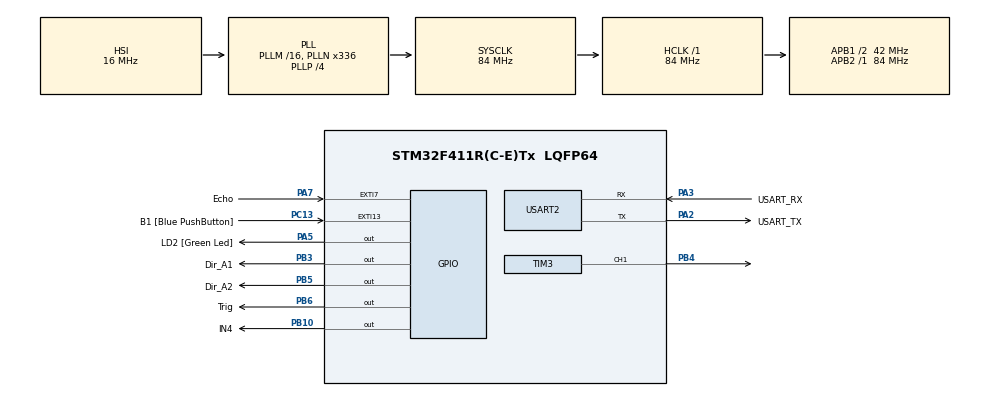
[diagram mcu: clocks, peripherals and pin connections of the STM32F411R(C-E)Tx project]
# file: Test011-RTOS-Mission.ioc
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FREERTOS.BinarySemaphores01=myBinarySem01,Dynamic,NULL
FREERTOS.Tasks01=myTask01,0,128,StartTask01,Default,NULL,Dynamic,NULL,NULL;myTask02,-1,128,StartTask02,Default,NULL,Dynamic,NULL,NULL;myTask03,-2,128,StartTask03,Default,NULL,Dynamic,NULL,NULL;myTask04,-3,128,StartTask04,Default,NULL,Dynamic,NULL,NULL
FREERTOS.configUSE_NEWLIB_REENTRANT=1
Mcu.Family=STM32F4
Mcu.Name=STM32F411R(C-E)Tx
Mcu.Package=LQFP64
NVIC.EXTI9_5_IRQn=true\:5\:0\:false\:false\:true\:false\:true\:true\:true
NVIC.PriorityGroup=NVIC_PRIORITYGROUP_4
NVIC.TIM1_UP_TIM10_IRQn=true\:15\:0\:false\:false\:true\:false\:false\:true\:true
NVIC.TimeBase=TIM1_UP_TIM10_IRQn
NVIC.TimeBaseIP=TIM10
PA13.GPIO_Label=TMS
PA13.Mode=Serial_Wire
PA13.Signal=SYS_JTMS-SWDIO
PA14.GPIO_Label=TCK
PA14.Mode=Serial_Wire
PA14.Signal=SYS_JTCK-SWCLK
PA2.GPIO_Label=USART_TX
PA2.Mode=Asynchronous
PA2.Signal=USART2_TX
PA3.GPIO_Label=USART_RX
PA3.Mode=Asynchronous
PA3.Signal=USART2_RX
PA5.GPIO_Label=LD2 [Green Led]
PA5.Signal=GPIO_Output
PA7.GPIO_Label=Echo
PA7.GPIO_ModeDefaultEXTI=GPIO_MODE_IT_RISING_FALLING
PA7.Signal=GPXTI7
PB10.GPIO_Label=IN4
PB10.Signal=GPIO_Output
PB3.GPIO_Label=Dir_A1
PB3.Signal=GPIO_Output
PB4.Signal=S_TIM3_CH1
PB5.GPIO_Label=Dir_A2
PB5.Signal=GPIO_Output
PB6.GPIO_Label=Trig
PB6.Signal=GPIO_Output
PC13-ANTI_TAMP.GPIO_Label=B1 [Blue PushButton]
PC13-ANTI_TAMP.GPIO_ModeDefaultEXTI=GPIO_MODE_IT_FALLING
PC13-ANTI_TAMP.Signal=GPXTI13
PC14-OSC32_IN.Mode=LSE-External-Oscillator
PC14-OSC32_IN.Signal=RCC_OSC32_IN
PC15-OSC32_OUT.Mode=LSE-External-Oscillator
PC15-OSC32_OUT.Signal=RCC_OSC32_OUT
PH0\ -\ OSC_IN.Mode=HSE-External-Clock-Source
PH0\ -\ OSC_IN.Signal=RCC_OSC_IN
PH1\ -\ OSC_OUT.Mode=HSE-External-Clock-Source
PH1\ -\ OSC_OUT.Signal=RCC_OSC_OUT
ProjectManager.HeapSize=0x200
ProjectManager.StackSize=0x400
ProjectManager.TargetToolchain=STM32CubeIDE
RCC.48MHZClocksFreq_Value=84000000
RCC.AHBFreq_Value=84000000
RCC.APB1CLKDivider=RCC_HCLK_DIV2
RCC.APB1Freq_Value=42000000
RCC.APB1TimFreq_Value=84000000
RCC.APB2Freq_Value=84000000
RCC.APB2TimFreq_Value=84000000
RCC.CortexFreq_Value=84000000
RCC.FLatency-AdvancedSettings=FLASH_LATENCY_2
RCC.HCLKFreq_Value=84000000
RCC.HSE_VALUE=8000000
RCC.HSI_VALUE=16000000
RCC.PLLN=336
RCC.PLLP=RCC_PLLP_DIV4
RCC.SYSCLKFreq_VALUE=84000000
RCC.SYSCLKSource=RCC_SYSCLKSOURCE_PLLCLK
RCC.VCOOutputFreq_Value=336000000
SH.S_TIM3_CH1.0=TIM3_CH1,PWM Generation1 CH1
TIM2.Prescaler=84-1
TIM3.Channel-PWM\ Generation1\ CH1=TIM_CHANNEL_1
TIM3.Period=1000-1
TIM3.Prescaler=84-1
USART2.VirtualMode=VM_ASYNC
VP_FREERTOS_VS_CMSIS_V1.Mode=CMSIS_V1
VP_SYS_VS_tim10.Mode=TIM10
VP_TIM2_VS_ClockSourceINT.Mode=Internal
VP_TIM3_VS_ClockSourceINT.Mode=Internal
board=NUCLEO-F411RE

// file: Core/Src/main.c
/* USER CODE BEGIN Header */
/**
  ******************************************************************************
  * @file           : main.c
  * @brief          : Main program body
  ******************************************************************************
  * @attention
  *
  * Copyright (c) 2025 STMicroelectronics.
  * All rights reserved.
  *
  * This software is licensed under terms that can be found in the LICENSE file
  * in the root directory of this software component.
  * If no LICENSE file comes with this software, it is provided AS-IS.
  *
  ******************************************************************************
  */
/* USER CODE END Header */
#include "main.h"
#include "cmsis_os.h"

TIM_HandleTypeDef htim2;
TIM_HandleTypeDef htim3;

UART_HandleTypeDef huart2;

osThreadId myTask01Handle;
osThreadId myTask02Handle;
osThreadId myTask03Handle;
osThreadId myTask04Handle;
osSemaphoreId myBinarySem01Handle;

void SystemClock_Config(void);
static void MX_GPIO_Init(void);
static void MX_USART2_UART_Init(void);
static void MX_TIM2_Init(void);
static void MX_TIM3_Init(void);
void StartTask01(void const * argument);
void StartTask02(void const * argument);
void StartTask03(void const * argument);
void StartTask04(void const * argument);

/* USER CODE BEGIN 0 */
volatile int mt0 = 0, mt1 = 0, tflag = 0;
void microDelay(int us)  // us : micro second
{
	//int t1 = htim2.Instance->CNT;
	//while(htim2.Instance->CNT - t1 < us));

	mt0 = htim2.Instance->CNT;// = 0;
	while((htim2.Instance->CNT-mt0) < us);
}
void Trigger()
{
	HAL_GPIO_WritePin(Trig_GPIO_Port, Trig_Pin, 0);
	microDelay(10);
	HAL_GPIO_WritePin(Trig_GPIO_Port, Trig_Pin, 1);
	microDelay(10);
	HAL_GPIO_WritePin(Trig_GPIO_Port, Trig_Pin, 0);
	tflag = 1;
}
volatile int t0 = 0; t1 = 0;
int dist = 0; // mm (1/1000 m)
void HAL_GPIO_EXTI_Callback(uint16_t GPIO_Pin)
{
	int tt = htim2.Instance->CNT;
	if(GPIO_Pin == Echo_Pin)
	{
		if(tflag != 1) return;
		if(HAL_GPIO_ReadPin(Echo_GPIO_Port, Echo_Pin) == 1) // Rising
		{
			t0 = tt; //htim2.Instance->CNT;// = 0; t0 = 0;
		}
		else // falling
		{
			t1 = tt;//htim2.Instance->CNT;
			dist = (t1 - t0) * 0.17; // mm ?��?�� 계산, ?��?��?�� ?��?�� 버림
			tflag = 0;
		}
	}
}

/* USER CODE END 0 */

int main(void)
{

  /* MCU Configuration--------------------------------------------------------*/

  /* Reset of all peripherals, Initializes the Flash interface and the Systick. */
  HAL_Init();

  /* Configure the system clock */
  SystemClock_Config();

  /* Initialize all configured peripherals */
  MX_GPIO_Init();
  MX_USART2_UART_Init();
  MX_TIM2_Init();
  MX_TIM3_Init();

  /* Create the semaphores(s) */
  /* definition and creation of myBinarySem01 */
  osSemaphoreDef(myBinarySem01);
  myBinarySem01Handle = osSemaphoreCreate(osSemaphore(myBinarySem01), 1);

  /* Create the thread(s) */
  /* definition and creation of myTask01 */
  osThreadDef(myTask01, StartTask01, osPriorityNormal, 0, 128);
  myTask01Handle = osThreadCreate(osThread(myTask01), NULL);

  /* definition and creation of myTask02 */
  osThreadDef(myTask02, StartTask02, osPriorityBelowNormal, 0, 128);
  myTask02Handle = osThreadCreate(osThread(myTask02), NULL);

  /* definition and creation of myTask03 */
  osThreadDef(myTask03, StartTask03, osPriorityLow, 0, 128);
  myTask03Handle = osThreadCreate(osThread(myTask03), NULL);

  /* definition and creation of myTask04 */
  osThreadDef(myTask04, StartTask04, osPriorityIdle, 0, 128);
  myTask04Handle = osThreadCreate(osThread(myTask04), NULL);

  /* USER CODE BEGIN RTOS_THREADS */
  /* add threads, ... */
  ProgramStart("RTOS - Mission");
  HAL_TIM_Base_Start(&htim2);
  HAL_TIM_PWM_Start(&htim3, TIM_CHANNEL_1);
  HAL_GPIO_WritePin(Dir_A1_GPIO_Port, Dir_A1_Pin, 1);
  HAL_GPIO_WritePin(Dir_A2_GPIO_Port, Dir_A2_Pin, 0);
  /* USER CODE END RTOS_THREADS */

  /* Start scheduler */
  osKernelStart();

  /* We should never get here as control is now taken by the scheduler */
  /* Infinite loop */
  while (1)
  {

  }
}

void SystemClock_Config(void)
{
  RCC_OscInitTypeDef RCC_OscInitStruct = {0};
  RCC_ClkInitTypeDef RCC_ClkInitStruct = {0};

  /** Configure the main internal regulator output voltage
  */
  __HAL_RCC_PWR_CLK_ENABLE();
  __HAL_PWR_VOLTAGESCALING_CONFIG(PWR_REGULATOR_VOLTAGE_SCALE1);

  /** Initializes the RCC Oscillators according to the specified parameters
  * in the RCC_OscInitTypeDef structure.
  */
  RCC_OscInitStruct.OscillatorType = RCC_OSCILLATORTYPE_HSI;
  RCC_OscInitStruct.HSIState = RCC_HSI_ON;
  RCC_OscInitStruct.HSICalibrationValue = RCC_HSICALIBRATION_DEFAULT;
  RCC_OscInitStruct.PLL.PLLState = RCC_PLL_ON;
  RCC_OscInitStruct.PLL.PLLSource = RCC_PLLSOURCE_HSI;
  RCC_OscInitStruct.PLL.PLLM = 16;
  RCC_OscInitStruct.PLL.PLLN = 336;
  RCC_OscInitStruct.PLL.PLLP = RCC_PLLP_DIV4;
  RCC_OscInitStruct.PLL.PLLQ = 4;
  if (HAL_RCC_OscConfig(&RCC_OscInitStruct) != HAL_OK)
  {
    Error_Handler();
  }

  /** Initializes the CPU, AHB and APB buses clocks
  */
  RCC_ClkInitStruct.ClockType = RCC_CLOCKTYPE_HCLK|RCC_CLOCKTYPE_SYSCLK
                              |RCC_CLOCKTYPE_PCLK1|RCC_CLOCKTYPE_PCLK2;
  RCC_ClkInitStruct.SYSCLKSource = RCC_SYSCLKSOURCE_PLLCLK;
  RCC_ClkInitStruct.AHBCLKDivider = RCC_SYSCLK_DIV1;
  RCC_ClkInitStruct.APB1CLKDivider = RCC_HCLK_DIV2;
  RCC_ClkInitStruct.APB2CLKDivider = RCC_HCLK_DIV1;

  if (HAL_RCC_ClockConfig(&RCC_ClkInitStruct, FLASH_LATENCY_2) != HAL_OK)
  {
    Error_Handler();
  }
}

static void MX_TIM2_Init(void)
{

  TIM_ClockConfigTypeDef sClockSourceConfig = {0};
  TIM_MasterConfigTypeDef sMasterConfig = {0};

  htim2.Instance = TIM2;
  htim2.Init.Prescaler = 84-1;
  htim2.Init.CounterMode = TIM_COUNTERMODE_UP;
  htim2.Init.Period = 4294967295;
  htim2.Init.ClockDivision = TIM_CLOCKDIVISION_DIV1;
  htim2.Init.AutoReloadPreload = TIM_AUTORELOAD_PRELOAD_DISABLE;
  if (HAL_TIM_Base_Init(&htim2) != HAL_OK)
  {
    Error_Handler();
  }
  sClockSourceConfig.ClockSource = TIM_CLOCKSOURCE_INTERNAL;
  if (HAL_TIM_ConfigClockSource(&htim2, &sClockSourceConfig) != HAL_OK)
  {
    Error_Handler();
  }
  sMasterConfig.MasterOutputTrigger = TIM_TRGO_RESET;
  sMasterConfig.MasterSlaveMode = TIM_MASTERSLAVEMODE_DISABLE;
  if (HAL_TIMEx_MasterConfigSynchronization(&htim2, &sMasterConfig) != HAL_OK)
  {
    Error_Handler();
  }

}

static void MX_TIM3_Init(void)
{

  TIM_ClockConfigTypeDef sClockSourceConfig = {0};
  TIM_MasterConfigTypeDef sMasterConfig = {0};
  TIM_OC_InitTypeDef sConfigOC = {0};

  htim3.Instance = TIM3;
  htim3.Init.Prescaler = 84-1;
  htim3.Init.CounterMode = TIM_COUNTERMODE_UP;
  htim3.Init.Period = 1000-1;
  htim3.Init.ClockDivision = TIM_CLOCKDIVISION_DIV1;
  htim3.Init.AutoReloadPreload = TIM_AUTORELOAD_PRELOAD_DISABLE;
  if (HAL_TIM_Base_Init(&htim3) != HAL_OK)
  {
    Error_Handler();
  }
  sClockSourceConfig.ClockSource = TIM_CLOCKSOURCE_INTERNAL;
  if (HAL_TIM_ConfigClockSource(&htim3, &sClockSourceConfig) != HAL_OK)
  {
    Error_Handler();
  }
  if (HAL_TIM_PWM_Init(&htim3) != HAL_OK)
  {
    Error_Handler();
  }
  sMasterConfig.MasterOutputTrigger = TIM_TRGO_RESET;
  sMasterConfig.MasterSlaveMode = TIM_MASTERSLAVEMODE_DISABLE;
  if (HAL_TIMEx_MasterConfigSynchronization(&htim3, &sMasterConfig) != HAL_OK)
  {
    Error_Handler();
  }
  sConfigOC.OCMode = TIM_OCMODE_PWM1;
  sConfigOC.Pulse = 0;
  sConfigOC.OCPolarity = TIM_OCPOLARITY_HIGH;
  sConfigOC.OCFastMode = TIM_OCFAST_DISABLE;
  if (HAL_TIM_PWM_ConfigChannel(&htim3, &sConfigOC, TIM_CHANNEL_1) != HAL_OK)
  {
    Error_Handler();
  }
  HAL_TIM_MspPostInit(&htim3);

}

static void MX_USART2_UART_Init(void)
{

  huart2.Instance = USART2;
  huart2.Init.BaudRate = 115200;
  huart2.Init.WordLength = UART_WORDLENGTH_8B;
  huart2.Init.StopBits = UART_STOPBITS_1;
  huart2.Init.Parity = UART_PARITY_NONE;
  huart2.Init.Mode = UART_MODE_TX_RX;
  huart2.Init.HwFlowCtl = UART_HWCONTROL_NONE;
  huart2.Init.OverSampling = UART_OVERSAMPLING_16;
  if (HAL_UART_Init(&huart2) != HAL_OK)
  {
    Error_Handler();
  }

}

static void MX_GPIO_Init(void)
{
  GPIO_InitTypeDef GPIO_InitStruct = {0};

  /* GPIO Ports Clock Enable */
  __HAL_RCC_GPIOC_CLK_ENABLE();
  __HAL_RCC_GPIOH_CLK_ENABLE();
  __HAL_RCC_GPIOA_CLK_ENABLE();
  __HAL_RCC_GPIOB_CLK_ENABLE();

  /*Configure GPIO pin Output Level */
  HAL_GPIO_WritePin(LD2_GPIO_Port, LD2_Pin, GPIO_PIN_RESET);

  /*Configure GPIO pin Output Level */
  HAL_GPIO_WritePin(GPIOB, IN4_Pin|Dir_A1_Pin|Dir_A2_Pin|Trig_Pin, GPIO_PIN_RESET);

  /*Configure GPIO pin : B1_Pin */
  GPIO_InitStruct.Pin = B1_Pin;
  GPIO_InitStruct.Mode = GPIO_MODE_IT_FALLING;
  GPIO_InitStruct.Pull = GPIO_NOPULL;
  HAL_GPIO_Init(B1_GPIO_Port, &GPIO_InitStruct);

  /*Configure GPIO pin : LD2_Pin */
  GPIO_InitStruct.Pin = LD2_Pin;
  GPIO_InitStruct.Mode = GPIO_MODE_OUTPUT_PP;
  GPIO_InitStruct.Pull = GPIO_NOPULL;
  GPIO_InitStruct.Speed = GPIO_SPEED_FREQ_LOW;
  HAL_GPIO_Init(LD2_GPIO_Port, &GPIO_InitStruct);

  /*Configure GPIO pin : Echo_Pin */
  GPIO_InitStruct.Pin = Echo_Pin;
  GPIO_InitStruct.Mode = GPIO_MODE_IT_RISING_FALLING;
  GPIO_InitStruct.Pull = GPIO_NOPULL;
  HAL_GPIO_Init(Echo_GPIO_Port, &GPIO_InitStruct);

  /*Configure GPIO pins : IN4_Pin Dir_A1_Pin Dir_A2_Pin Trig_Pin */
  GPIO_InitStruct.Pin = IN4_Pin|Dir_A1_Pin|Dir_A2_Pin|Trig_Pin;
  GPIO_InitStruct.Mode = GPIO_MODE_OUTPUT_PP;
  GPIO_InitStruct.Pull = GPIO_NOPULL;
  GPIO_InitStruct.Speed = GPIO_SPEED_FREQ_LOW;
  HAL_GPIO_Init(GPIOB, &GPIO_InitStruct);

  /* EXTI interrupt init*/
  HAL_NVIC_SetPriority(EXTI9_5_IRQn, 5, 0);
  HAL_NVIC_EnableIRQ(EXTI9_5_IRQn);

}

void StartTask01(void const * argument)
{
  /* USER CODE BEGIN 5 */
  /* Infinite loop */
  for(;;)
  {
	  if(osSemaphoreWait(myBinarySem01Handle,0) == osOK)
	  {
		  Trigger(); HAL_Delay(60);
		  osSemaphoreRelease(myBinarySem01Handle);
	  }
    osDelay(1);
  }
  /* USER CODE END 5 */
}

/* USER CODE BEGIN Header_StartTask02 */
/**
* @brief Function implementing the myTask02 thread.
* @param argument: Not used
* @retval None
*/
int dr = 10, dr1 = 30, dr2 = 50, dr3 = 90;
/* USER CODE END Header_StartTask02 */
void StartTask02(void const * argument)
{
  /* USER CODE BEGIN StartTask02 */
  /* Infinite loop */
  for(;;)
  {
	  if(osSemaphoreWait(myBinarySem01Handle,0) == osOK)
	  {
		  if(dist < 500)
		  {
			  dr = 1;
		  }
		  else if(dist < 1000) dr = dr1;
		  else if(dist < 2000) dr = dr2;
		  else dr = dr3;
		  htim3.Instance->CCR1 = htim3.Instance->ARR * dr / 100;
		  HAL_Delay(100);
		  osSemaphoreRelease(myBinarySem01Handle);
	  }
    osDelay(1);
  }
  /* USER CODE END StartTask02 */
}

void StartTask03(void const * argument)
{
  /* USER CODE BEGIN StartTask03 */
  /* Infinite loop */
  for(;;)
  {
	  if(osSemaphoreWait(myBinarySem01Handle,0) == osOK)
	  {
		  osSemaphoreRelease(myBinarySem01Handle);
	  }
    osDelay(1);
  }
  /* USER CODE END StartTask03 */
}

void StartTask04(void const * argument)
{
  /* USER CODE BEGIN StartTask04 */
  /* Infinite loop */
  for(;;)
  {
	  if(osSemaphoreWait(myBinarySem01Handle,0) == osOK)
	  {
		  int dm = dist / 1000; // meter
		  int dc = ((int)(dist / 10)) % 100;
		  printf("Current distance : %dm %dcm (%d mm)(%d-%d)\r\n", dm, dc, dist,t1,t0);
		  osSemaphoreRelease(myBinarySem01Handle);
	  }
    osDelay(1);
  }
  /* USER CODE END StartTask04 */
}

void HAL_TIM_PeriodElapsedCallback(TIM_HandleTypeDef *htim)
{
  if (htim->Instance == TIM10) {
    HAL_IncTick();
  }
}

void Error_Handler(void)
{
  __disable_irq();
  while (1)
  {
  }
}
